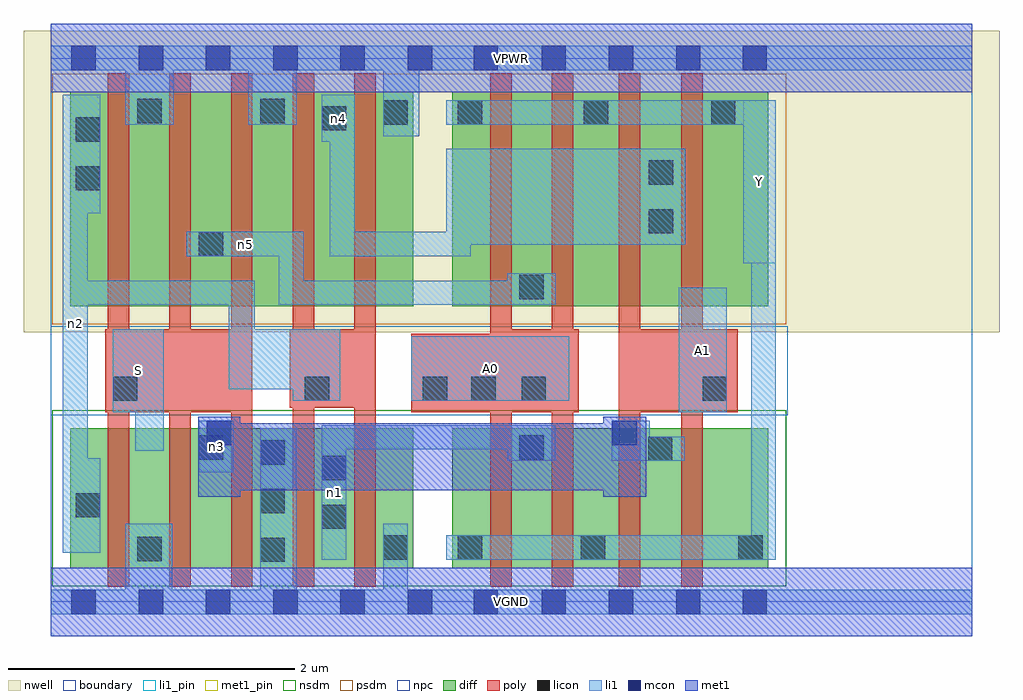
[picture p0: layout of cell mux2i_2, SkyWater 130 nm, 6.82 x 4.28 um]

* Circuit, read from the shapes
.subckt mux2i_2 A0 A1 S VGND VPWR Y n1 n2 n3 n4 n5
XM1 VGND S n2 VSUBS sky130_fd_pr__nfet_01v8 w=0.98 l=0.15
XM2 n3 S VGND VSUBS sky130_fd_pr__nfet_01v8 w=0.98 l=0.15 m=2
XM3 n1 n2 VGND VSUBS sky130_fd_pr__nfet_01v8 w=0.98 l=0.15 m=2
XM4 n1 A0 Y VSUBS sky130_fd_pr__nfet_01v8 w=0.98 l=0.15 m=2
XM5 n3 A1 Y VSUBS sky130_fd_pr__nfet_01v8 w=0.98 l=0.15 m=2
XM6 VPWR S n2 n6 sky130_fd_pr__pfet_01v8 w=1.5 l=0.15
XM7 n5 S VPWR n6 sky130_fd_pr__pfet_01v8 w=1.5 l=0.15 m=2
XM8 n4 n2 VPWR n6 sky130_fd_pr__pfet_01v8 w=1.5 l=0.15 m=2
XM9 n5 A0 Y n6 sky130_fd_pr__pfet_01v8 w=1.5 l=0.15 m=2
XM10 n4 A1 Y n6 sky130_fd_pr__pfet_01v8 w=1.5 l=0.15 m=2
.ends

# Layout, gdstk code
import gdstk
lib = gdstk.Library(unit=1e-6, precision=1e-09)
def R(c, l, rs):  # rectangles x0, y0, x1, y1
    for r in rs: c.add(gdstk.rectangle(r[:2], r[2:], *l))
def A(c, l, x, y, w, h, nx, ny, dx, dy):  # array of equal rectangles
    R(c, l, [(x+i*dx, y+j*dy, x+i*dx+w, y+j*dy+h) for i in range(nx) for j in range(ny)])
nwell = (64, 20)
diff = (65, 20)
poly = (66, 20)
licon = (66, 44)
li1_pin = (67, 16)
li1 = (67, 20)
mcon = (67, 44)
met1_pin = (68, 16)
met1 = (68, 20)
nsdm = (93, 44)
psdm = (94, 20)
npc = (95, 20)
boundary = (235, 4)

mux2i_2 = lib.new_cell('mux2i_2')
R(mux2i_2, nwell, [(-0.19,1.885,6.63,3.99), (0,1.885,6.44,3.99)])
R(mux2i_2, diff, [(0.135,0.235,2.535,1.215), (2.805,0.235,5.015,1.215), (0.135,2.065,2.535,3.565), (2.805,2.065,5.015,3.565)])
A(mux2i_2, poly, 0.4, 0.105, 0.15, 3.59, 5, 1, 0.43, 0)
R(mux2i_2, poly, [(3.07,0.105,3.22,3.695), (3.5,0.105,3.65,3.695), (3.97,0.105,4.12,3.695), (4.405,0.105,4.555,3.695), (0.38,1.325,1.41,1.905), (2.52,1.325,3.69,1.875), (3.07,1.325,3.69,1.905), (3.97,1.325,4.8,1.905), (1.67,1.355,2.27,1.905)])
A(mux2i_2, licon, 1.465, 0.28, 0.17, 0.17, 1, 3, 0, 0.34)
R(mux2i_2, licon, [(0.605,0.285,0.775,0.455), (2.325,0.295,2.495,0.465), (2.845,0.295,3.015,0.465), (3.705,0.295,3.875,0.465), (4.805,0.295,4.975,0.465), (1.895,0.51,2.065,0.68), (0.175,0.59,0.345,0.76), (1.895,0.85,2.065,1.02), (4.175,0.985,4.345,1.155), (1.035,0.995,1.205,1.165), (3.275,0.995,3.445,1.165), (0.435,1.405,0.605,1.575), (1.775,1.405,1.945,1.575), (2.6,1.405,2.77,1.575), (2.94,1.405,3.11,1.575), (3.29,1.405,3.46,1.575), (4.555,1.405,4.725,1.575), (3.275,2.115,3.445,2.285), (1.035,2.415,1.205,2.585), (4.18,2.575,4.35,2.745), (0.175,2.875,0.345,3.045), (4.18,2.915,4.35,3.085), (0.175,3.215,0.345,3.385), (1.895,3.295,2.065,3.465), (2.325,3.335,2.495,3.505), (2.845,3.335,3.015,3.505), (3.725,3.335,3.895,3.505), (4.615,3.335,4.785,3.505), (0.605,3.345,0.775,3.515), (1.465,3.345,1.635,3.515)])
R(mux2i_2, li1_pin, [(0.435,1.325,0.79,1.905), (4.39,1.325,4.725,2.195), (2.52,1.405,3.625,1.855), (4.84,2.365,5.065,3.505)])
R(mux2i_2, li1, [(0,-0.085,6.44,0.085), (0.52,-0.085,0.85,0.545), (1.465,-0.085,1.72,1.215), (2.325,-0.085,2.495,0.545), (1.895,0.295,2.065,1.235), (2.765,0.295,5.065,0.465), (4.895,0.295,5.065,3.505), (0.085,0.345,0.26,3.545), (0.085,0.345,0.345,1.005), (1.035,0.905,1.28,1.265), (3.19,0.985,3.53,1.235), (3.92,0.985,4.43,1.155), (3.92,0.985,4.185,1.265), (0.59,1.055,0.79,1.905), (1.895,1.065,3.53,1.235), (0.435,1.325,0.79,1.905), (4.39,1.325,4.725,2.195), (1.69,1.405,2.025,1.905), (2.52,1.405,3.625,1.855), (1.245,1.485,2.025,1.905), (1.245,1.485,1.425,2.245), (0.085,2.075,1.425,2.245), (1.595,2.075,3.53,2.245), (1.595,2.075,1.77,2.585), (3.19,2.075,3.53,2.295), (4.84,2.365,5.065,3.505), (0.95,2.415,1.77,2.585), (1.95,2.415,2.935,2.585), (1.95,2.415,2.125,3.545), (2.935,2.495,4.435,3.165), (2.765,2.585,4.435,3.165), (0.085,2.715,0.345,3.545), (1.895,3.215,2.125,3.545), (2.325,3.255,2.575,3.885), (0.52,3.335,0.86,3.885), (1.38,3.335,1.72,3.885), (2.765,3.335,5.065,3.505), (0,3.715,6.44,3.885)])
A(mux2i_2, mcon, 0.145, -0.085, 0.17, 0.17, 6, 2, 0.47, 3.8)
A(mux2i_2, mcon, 3.43, -0.085, 0.17, 0.17, 3, 2, 0.47, 3.8)
R(mux2i_2, mcon, [(2.955,-0.085,3.125,0.085), (4.835,-0.085,5.005,0.085), (1.09,1.095,1.26,1.265), (3.925,1.095,4.095,1.265), (2.955,3.715,3.125,3.885), (4.835,3.715,5.005,3.885)])
R(mux2i_2, met1_pin, [(0,-0.24,6.44,0.24), (0,3.56,6.44,4.04)])
R(mux2i_2, met1, [(0,-0.24,6.44,0.24), (1.03,0.735,1.325,1.295), (3.86,0.735,4.16,1.295), (1.03,0.78,4.16,1.25), (0,3.56,6.44,4.04)])
R(mux2i_2, nsdm, [(0.01,0.11,5.14,1.34)])
R(mux2i_2, psdm, [(0.01,1.94,5.14,3.69)])
R(mux2i_2, npc, [(0,1.305,5.15,1.925)])
R(mux2i_2, boundary, [(0,0,6.44,3.8)])
mux2i_2.add(gdstk.Label('A0', (3.072,1.63), layer=67, texttype=5))
mux2i_2.add(gdstk.Label('A1', (4.557,1.76), layer=67, texttype=5))
mux2i_2.add(gdstk.Label('S', (0.612,1.615), layer=67, texttype=5))
mux2i_2.add(gdstk.Label('Y', (4.952,2.935), layer=67, texttype=5))
mux2i_2.add(gdstk.Label('n1', (1.98,0.765), layer=67, texttype=5))
mux2i_2.add(gdstk.Label('n3', (1.157,1.085), layer=67, texttype=5))
mux2i_2.add(gdstk.Label('n5', (1.36,2.5), layer=67, texttype=5))
mux2i_2.add(gdstk.Label('n2', (0.172,1.945), layer=67, texttype=5))
mux2i_2.add(gdstk.Label('n4', (2.01,3.38), layer=67, texttype=5))
mux2i_2.add(gdstk.Label('VPWR', (3.22,3.8), layer=68, texttype=5))
mux2i_2.add(gdstk.Label('VGND', (3.22,0), layer=68, texttype=5))
mux2i_2.add(gdstk.Label('A0', (3.072,1.63), layer=67, texttype=16))
mux2i_2.add(gdstk.Label('A1', (4.557,1.76), layer=67, texttype=16))
mux2i_2.add(gdstk.Label('S', (0.612,1.615), layer=67, texttype=16))
mux2i_2.add(gdstk.Label('Y', (4.952,2.935), layer=67, texttype=16))
mux2i_2.add(gdstk.Label('VPWR', (3.22,3.8), layer=68, texttype=16))
mux2i_2.add(gdstk.Label('VGND', (3.22,0), layer=68, texttype=16))

lib.write_gds('mux2i_2.gds')
